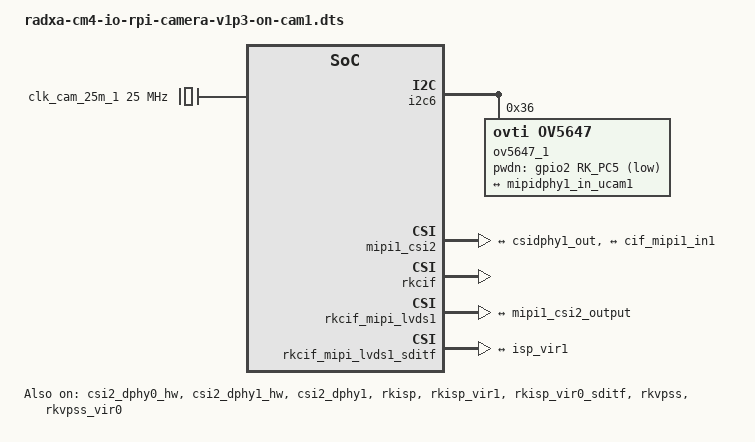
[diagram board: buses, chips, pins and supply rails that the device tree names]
/dts-v1/;
/plugin/;

#include <dt-bindings/gpio/gpio.h>
#include <dt-bindings/pinctrl/rockchip.h>

/ {
	metadata {
		title ="Enable Raspberry Pi Camera v1.3 on CAM1";
		compatible = "radxa,cm4-io";
		category = "camera";
		exclusive = "GPIO2_C5", "csi2_dphy1", "i2c6";
		description = "Enable Raspberry Pi Camera v1.3 on CAM1.";
	};
};

&{/} {
	clk_cam_25m_1: external-camera-clock-25m-1 {
		status = "okay";
		compatible = "fixed-clock";
		clock-frequency = <25000000>;
		clock-output-names = "clk_cam_25m_1";
		#clock-cells = <0>;
	};
};


&i2c6 {
	status = "okay";
	pinctrl-names = "default";
	pinctrl-0 = <&i2c6m3_xfer>;

	ov5647_1: ov5647_1@36 {
		status = "okay";
		compatible = "ovti,ov5647";
		reg = <0x36>;
		clocks = <&clk_cam_25m_1>;
		pwdn-gpios = <&gpio2 RK_PC5 GPIO_ACTIVE_LOW>;
		clock-names = "xvclk";
		rockchip,camera-module-index = <0>;
		rockchip,camera-module-facing = "back";
		rockchip,camera-module-name = "rpi-camera-v1p3";
		rockchip,camera-module-lens-name = "default";

		port {
			ov5647_out1: endpoint {
				remote-endpoint = <&mipidphy1_in_ucam1>;
				data-lanes = <1 2>;
			};
		};
	};
};

&csi2_dphy0_hw {
	status = "okay";
};

&csi2_dphy1_hw {
	status = "okay";
};

&csi2_dphy1 {
	status = "okay";

	ports {
		#address-cells = <1>;
		#size-cells = <0>;

		port@0 {
			reg = <0>;
			#address-cells = <1>;
			#size-cells = <0>;

			mipidphy1_in_ucam1: endpoint@2 {
				reg = <2>;
				remote-endpoint = <&ov5647_out1>;
				data-lanes = <1 2>;
			};
		};

		port@1 {
			reg = <1>;
			#address-cells = <1>;
			#size-cells = <0>;

			csidphy1_out: endpoint@0 {
				reg = <0>;
				remote-endpoint = <&mipi1_csi2_input>;
			};
		};
	};
};

&mipi1_csi2 {
	status = "okay";

	ports {
		#address-cells = <1>;
		#size-cells = <0>;

		port@0 {
			reg = <0>;
			#address-cells = <1>;
			#size-cells = <0>;

			mipi1_csi2_input: endpoint@1 {
				reg = <1>;
				remote-endpoint = <&csidphy1_out>;
			};
		};

		port@1 {
			reg = <1>;
			#address-cells = <1>;
			#size-cells = <0>;

			mipi1_csi2_output: endpoint@0 {
				reg = <0>;
				remote-endpoint = <&cif_mipi1_in1>;
			};
		};
	};
};

&rkcif {
	status = "okay";
};

&rkcif_mmu {
	status = "okay";
};

&rkcif_mipi_lvds1 {
	status = "okay";

	port {
		cif_mipi1_in1: endpoint {
		    remote-endpoint = <&mipi1_csi2_output>;
		};
	};
};

&rkcif_mipi_lvds1_sditf {
	status = "okay";

	port {
		mipi_lvds1_sditf: endpoint {
			remote-endpoint = <&isp_vir1>;
		};
	};
};

&rkisp_mmu {
	status = "okay";
};

&rkisp {
	status = "okay";
};

&rkisp_vir1 {
	status = "okay";

	port {
		#address-cells = <1>;
		#size-cells = <0>;

		isp_vir1: endpoint@0 {
			reg = <0>;
			remote-endpoint = <&mipi_lvds1_sditf>;
		};
	};
};

&rkisp_vir0_sditf {
	status = "okay";
};

&rkvpss {
	status = "okay";
};

&rkvpss_mmu {
	status = "okay";
};

&rkvpss_vir0 {
	status = "okay";
};
